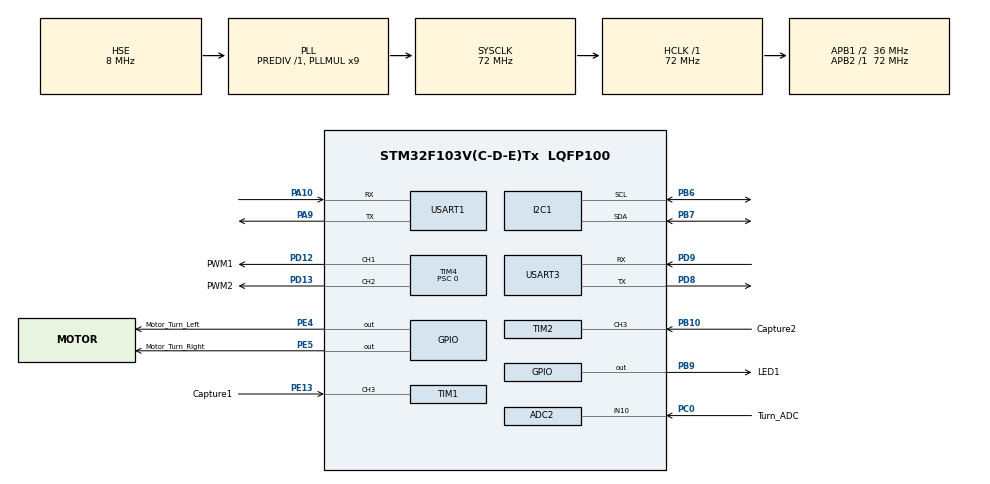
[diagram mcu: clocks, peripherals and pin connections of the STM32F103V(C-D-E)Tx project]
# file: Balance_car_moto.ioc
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ADC1.Channel-5\#ChannelRegularConversion=ADC_CHANNEL_TEMPSENSOR
ADC1.ContinuousConvMode=DISABLE
ADC1.DataAlign=ADC_DATAALIGN_RIGHT
ADC1.DiscontinuousConvMode=DISABLE
ADC1.EnableAnalogWatchDog=false
ADC1.EnableRegularConversion=ENABLE
ADC1.ExternalTrigConv=ADC_SOFTWARE_START
ADC1.InjNumberOfConversion=0
ADC1.NbrOfConversion=1
ADC1.NbrOfConversionFlag=1
ADC1.Rank-5\#ChannelRegularConversion=1
ADC1.SamplingTime-5\#ChannelRegularConversion=ADC_SAMPLETIME_1CYCLE_5
ADC1.ScanConvMode=ADC_SCAN_DISABLE
ADC1.master=1
ADC2.Channel-7\#ChannelRegularConversion=ADC_CHANNEL_10
ADC2.ContinuousConvMode=DISABLE
ADC2.DataAlign=ADC_DATAALIGN_RIGHT
ADC2.DiscontinuousConvMode=DISABLE
ADC2.EnableAnalogWatchDog=false
ADC2.EnableRegularConversion=ENABLE
ADC2.ExternalTrigConv=ADC_SOFTWARE_START
ADC2.InjNumberOfConversion=0
ADC2.NbrOfConversion=1
ADC2.NbrOfConversionFlag=1
ADC2.Rank-7\#ChannelRegularConversion=1
ADC2.SamplingTime-7\#ChannelRegularConversion=ADC_SAMPLETIME_1CYCLE_5
ADC2.ScanConvMode=ADC_SCAN_DISABLE
Dma.Request0=USART1_TX
Dma.USART1_TX.0.Direction=DMA_MEMORY_TO_PERIPH
Dma.USART1_TX.0.Instance=DMA1_Channel4
Dma.USART1_TX.0.MemDataAlignment=DMA_MDATAALIGN_BYTE
Dma.USART1_TX.0.MemInc=DMA_MINC_ENABLE
Dma.USART1_TX.0.Mode=DMA_NORMAL
Dma.USART1_TX.0.PeriphDataAlignment=DMA_PDATAALIGN_BYTE
Dma.USART1_TX.0.PeriphInc=DMA_PINC_DISABLE
Dma.USART1_TX.0.Priority=DMA_PRIORITY_LOW
Mcu.Family=STM32F1
Mcu.Name=STM32F103V(C-D-E)Tx
Mcu.Package=LQFP100
NVIC.DMA1_Channel4_IRQn=true\:0\:0\:false\:false\:true\:false
NVIC.PriorityGroup=NVIC_PRIORITYGROUP_2
NVIC.TIM1_CC_IRQn=true\:0\:0\:false\:false\:true\:true
NVIC.TIM2_IRQn=true\:0\:0\:false\:false\:true\:true
NVIC.TIM8_UP_IRQn=true\:0\:0\:false\:false\:true\:true
NVIC.USART1_IRQn=true\:0\:0\:false\:false\:true\:true
NVIC.USART3_IRQn=true\:0\:0\:false\:false\:true\:true
OSC_IN.Mode=HSE-External-Oscillator
OSC_IN.Signal=RCC_OSC_IN
OSC_OUT.Mode=HSE-External-Oscillator
OSC_OUT.Signal=RCC_OSC_OUT
PA10.Mode=Asynchronous
PA10.Signal=USART1_RX
PA13.Mode=JTAG_5_pins
PA13.Signal=SYS_JTMS-SWDIO
PA14.Mode=JTAG_5_pins
PA14.Signal=SYS_JTCK-SWCLK
PA15.Mode=JTAG_5_pins
PA15.Signal=SYS_JTDI
PA9.Mode=Asynchronous
PA9.Signal=USART1_TX
PB10.GPIO_Label=Capture2
PB10.Signal=S_TIM2_CH3
PB3.Mode=JTAG_5_pins
PB3.Signal=SYS_JTDO-TRACESWO
PB4.Mode=JTAG_5_pins
PB4.Signal=SYS_NJTRST
PB6.Mode=I2C
PB6.Signal=I2C1_SCL
PB7.Mode=I2C
PB7.Signal=I2C1_SDA
PB9.GPIO_Label=LED1
PB9.GPIO_Speed=GPIO_SPEED_FREQ_LOW
PB9.PinState=GPIO_PIN_SET
PB9.Signal=GPIO_Output
PC0.GPIO_Label=Turn_ADC
PC0.Signal=ADCx_IN10
PD12.GPIO_Label=PWM1
PD12.GPIO_Speed=GPIO_SPEED_FREQ_HIGH
PD12.Signal=S_TIM4_CH1
PD13.GPIO_Label=PWM2
PD13.GPIO_Speed=GPIO_SPEED_FREQ_HIGH
PD13.Signal=S_TIM4_CH2
PD8.Mode=Asynchronous
PD8.Signal=USART3_TX
PD9.Mode=Asynchronous
PD9.Signal=USART3_RX
PE13.GPIO_Label=Capture1
PE13.Signal=S_TIM1_CH3
PE4.GPIO_Label=Motor_Turn_Left
PE4.GPIO_Speed=GPIO_SPEED_FREQ_MEDIUM
PE4.PinState=GPIO_PIN_SET
PE4.Signal=GPIO_Output
PE5.GPIO_Label=Motor_Turn_Right
PE5.GPIO_ModeDefaultOutputPP=GPIO_MODE_OUTPUT_PP
PE5.GPIO_Speed=GPIO_SPEED_FREQ_MEDIUM
PE5.PinState=GPIO_PIN_SET
PE5.Signal=GPIO_Output
ProjectManager.HeapSize=0x200
ProjectManager.StackSize=0x400
ProjectManager.TargetToolchain=MDK-ARM V5
RCC.ADCPresc=RCC_ADCPCLK2_DIV6
RCC.AHBFreq_Value=72000000
RCC.APB1CLKDivider=RCC_HCLK_DIV2
RCC.APB1Freq_Value=36000000
RCC.APB1TimFreq_Value=72000000
RCC.APB2Freq_Value=72000000
RCC.APB2TimFreq_Value=72000000
RCC.HCLKFreq_Value=72000000
RCC.PLLMUL=RCC_PLL_MUL9
RCC.PLLSourceVirtual=RCC_PLLSOURCE_HSE
RCC.SYSCLKFreq_VALUE=72000000
RCC.SYSCLKSource=RCC_SYSCLKSOURCE_PLLCLK
RCC.USBFreq_Value=72000000
SH.ADCx_IN10.0=ADC2_IN10,IN10
SH.S_TIM1_CH3.0=TIM1_CH3,Input_Capture3_from_TI3
SH.S_TIM2_CH3.0=TIM2_CH3,Input_Capture3_from_TI3
SH.S_TIM4_CH1.0=TIM4_CH1,PWM Generation1 CH1
SH.S_TIM4_CH2.0=TIM4_CH2,PWM Generation2 CH2
TIM1.Channel-Input_Capture3_from_TI3=TIM_CHANNEL_3
TIM1.Period=0xffff
TIM1.Prescaler=7200-1
TIM2.Channel-Input_Capture3_from_TI3=TIM_CHANNEL_3
TIM2.Period=0xffff
TIM2.Prescaler=7200-1
TIM4.AutoReloadPreload=TIM_AUTORELOAD_PRELOAD_DISABLE
TIM4.Channel-PWM\ Generation1\ CH1=TIM_CHANNEL_1
TIM4.Channel-PWM\ Generation2\ CH2=TIM_CHANNEL_2
TIM4.Period=7200-1
TIM4.Prescaler=0
TIM8.Period=500-1
TIM8.Prescaler=7200-1
USART1.VirtualMode=VM_ASYNC
USART3.VirtualMode=VM_ASYNC
VP_ADC1_TempSens_Input.Mode=IN-TempSens
VP_TIM1_VS_ClockSourceINT.Mode=Internal
VP_TIM2_VS_ClockSourceINT.Mode=Internal
VP_TIM8_VS_ClockSourceINT.Mode=Internal
board=Balance_car_moto

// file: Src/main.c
/**
  ******************************************************************************
  * @file           : main.c
  * @brief          : Main program body
  ******************************************************************************
  ** This notice applies to any and all portions of this file
  * that are not between comment pairs USER CODE BEGIN and
  * USER CODE END. Other portions of this file, whether
  * inserted by the user or by software development tools
  * are owned by their respective copyright owners.
  *
  * COPYRIGHT(c) 2018 STMicroelectronics
  *
  * Redistribution and use in source and binary forms, with or without modification,
  * are permitted provided that the following conditions are met:
  *   1. Redistributions of source code must retain the above copyright notice,
  *      this list of conditions and the following disclaimer.
  *   2. Redistributions in binary form must reproduce the above copyright notice,
  *      this list of conditions and the following disclaimer in the documentation
  *      and/or other materials provided with the distribution.
  *   3. Neither the name of STMicroelectronics nor the names of its contributors
  *      may be used to endorse or promote products derived from this software
  *      without specific prior written permission.
  *
  * THIS SOFTWARE IS PROVIDED BY THE COPYRIGHT HOLDERS AND CONTRIBUTORS "AS IS"
  * AND ANY EXPRESS OR IMPLIED WARRANTIES, INCLUDING, BUT NOT LIMITED TO, THE
  * IMPLIED WARRANTIES OF MERCHANTABILITY AND FITNESS FOR A PARTICULAR PURPOSE ARE
  * DISCLAIMED. IN NO EVENT SHALL THE COPYRIGHT HOLDER OR CONTRIBUTORS BE LIABLE
  * FOR ANY DIRECT, INDIRECT, INCIDENTAL, SPECIAL, EXEMPLARY, OR CONSEQUENTIAL
  * DAMAGES (INCLUDING, BUT NOT LIMITED TO, PROCUREMENT OF SUBSTITUTE GOODS OR
  * SERVICES; LOSS OF USE, DATA, OR PROFITS; OR BUSINESS INTERRUPTION) HOWEVER
  * CAUSED AND ON ANY THEORY OF LIABILITY, WHETHER IN CONTRACT, STRICT LIABILITY,
  * OR TORT (INCLUDING NEGLIGENCE OR OTHERWISE) ARISING IN ANY WAY OUT OF THE USE
  * OF THIS SOFTWARE, EVEN IF ADVISED OF THE POSSIBILITY OF SUCH DAMAGE.
  *
  ******************************************************************************
  */
#include "main.h"
#include "stm32f1xx_hal.h"
#include "adc.h"
#include "dma.h"
#include "i2c.h"
#include "tim.h"
#include "usart.h"
#include "gpio.h"

/* USER CODE BEGIN Includes */
#include "motor.h"
#include "control.h"
#include "jy901.h"
/* USER CODE END Includes */

/* USER CODE BEGIN PV */
/* Private variables ---------------------------------------------------------*/

uint8_t str1[256];

/* USER CODE END PV */

void SystemClock_Config(void);

/* USER CODE BEGIN PFP */
/* Private function prototypes -----------------------------------------------*/

/* USER CODE END PFP */

int main(void)
{

  /* MCU Configuration----------------------------------------------------------*/

  /* Reset of all peripherals, Initializes the Flash interface and the Systick. */
  HAL_Init();

  /* Configure the system clock */
  SystemClock_Config();

  /* Initialize all configured peripherals */
  MX_GPIO_Init();
  MX_DMA_Init();
  MX_USART1_UART_Init();
  MX_TIM4_Init();
  MX_ADC1_Init();
  MX_ADC2_Init();
  MX_TIM8_Init();
  MX_TIM1_Init();
  MX_TIM2_Init();
  MX_I2C1_Init();
  MX_USART3_UART_Init();
  /* USER CODE BEGIN 2 */
	__HAL_AFIO_REMAP_SWJ_NOJTAG();
	HAL_TIM_IC_Start_IT(&htim1, TIM_CHANNEL_3);					//启动定时器1CH3输入捕获
	HAL_TIM_IC_Start_IT(&htim2, TIM_CHANNEL_3);					//启动定时器2CH3输入捕获
	HAL_TIM_PWM_Start(&htim4, TIM_CHANNEL_1);						//PWM1初始状态
	HAL_TIM_PWM_Start(&htim4, TIM_CHANNEL_2);						//PWM2初始状态
	HAL_UART_Receive_IT(&huart3,(uint8_t *)&Rx_Data3,1);//打开串口3接收中断（陀螺仪数据）
	HAL_UART_Receive_IT(&huart1,(uint8_t *)&Rx_Data1,1);//打开串口1接受中断（PID参数调节）
	Steer_Init();																				//记录启动时转向轴位置ADC为初始位置
	HAL_Delay(800);																			//等待500ms接受陀螺仪数据完整
	ZHONGZHI = Get_JY901_Init_UART();										//记录启动时陀螺仪位置为机械中值
	HAL_TIM_Base_Start_IT(&htim8);											//启动定时器8，50ms中断一次
  /* USER CODE END 2 */

  /* Infinite loop */
  while (1)
  {

  /* USER CODE BEGIN 3 */

		sprintf((char *)str1, "AngleBalance:%6.2f   GyroBalance:%7.2f   GyroTurn:%7.2f  |  JY901Temp:%d.%02d | M1:%5d  M2:%5d  |  PD_P:%.0f   PD_D:%.0f  |  PI_P:%.0f  PI_I:%.0f   ZZ:%.2f    Stop_Flag:%d   ↑↓%d %d   ←→%d %d\r\n",Angle_Balance-ZHONGZHI, Gyro_Balance, Gyro_Turn, JY901_Temperature/100, JY901_Temperature%100, Moto1,Moto2,Balance_PD_P, Balance_PD_D, Velocity_PI_P, Velocity_PI_I, ZHONGZHI, Stop_Flag,Qian_Flag,Hou_Flag,Left_Flag,Right_Flag);
//		sprintf((char *)str1, "angle_Balance:%.2f\n",Angle_Balance);
		HAL_UART_Transmit_DMA(&huart1, str1, strlen((const char *)str1));

		HAL_GPIO_WritePin(LED1_GPIO_Port, LED1_Pin, GPIO_PIN_RESET);
		HAL_Delay(300);

		HAL_UART_Transmit_DMA(&huart1, str1, strlen((const char *)str1));
		HAL_GPIO_WritePin(LED1_GPIO_Port, LED1_Pin, GPIO_PIN_SET);
		HAL_Delay(300);

  }
  /* USER CODE END 3 */

}

void SystemClock_Config(void)
{

  RCC_OscInitTypeDef RCC_OscInitStruct;
  RCC_ClkInitTypeDef RCC_ClkInitStruct;
  RCC_PeriphCLKInitTypeDef PeriphClkInit;

    /**Initializes the CPU, AHB and APB busses clocks
    */
  RCC_OscInitStruct.OscillatorType = RCC_OSCILLATORTYPE_HSE;
  RCC_OscInitStruct.HSEState = RCC_HSE_ON;
  RCC_OscInitStruct.HSEPredivValue = RCC_HSE_PREDIV_DIV1;
  RCC_OscInitStruct.HSIState = RCC_HSI_ON;
  RCC_OscInitStruct.PLL.PLLState = RCC_PLL_ON;
  RCC_OscInitStruct.PLL.PLLSource = RCC_PLLSOURCE_HSE;
  RCC_OscInitStruct.PLL.PLLMUL = RCC_PLL_MUL9;
  if (HAL_RCC_OscConfig(&RCC_OscInitStruct) != HAL_OK)
  {
    _Error_Handler(__FILE__, __LINE__);
  }

    /**Initializes the CPU, AHB and APB busses clocks
    */
  RCC_ClkInitStruct.ClockType = RCC_CLOCKTYPE_HCLK|RCC_CLOCKTYPE_SYSCLK
                              |RCC_CLOCKTYPE_PCLK1|RCC_CLOCKTYPE_PCLK2;
  RCC_ClkInitStruct.SYSCLKSource = RCC_SYSCLKSOURCE_PLLCLK;
  RCC_ClkInitStruct.AHBCLKDivider = RCC_SYSCLK_DIV1;
  RCC_ClkInitStruct.APB1CLKDivider = RCC_HCLK_DIV2;
  RCC_ClkInitStruct.APB2CLKDivider = RCC_HCLK_DIV1;

  if (HAL_RCC_ClockConfig(&RCC_ClkInitStruct, FLASH_LATENCY_2) != HAL_OK)
  {
    _Error_Handler(__FILE__, __LINE__);
  }

  PeriphClkInit.PeriphClockSelection = RCC_PERIPHCLK_ADC;
  PeriphClkInit.AdcClockSelection = RCC_ADCPCLK2_DIV6;
  if (HAL_RCCEx_PeriphCLKConfig(&PeriphClkInit) != HAL_OK)
  {
    _Error_Handler(__FILE__, __LINE__);
  }

    /**Configure the Systick interrupt time
    */
  HAL_SYSTICK_Config(HAL_RCC_GetHCLKFreq()/1000);

    /**Configure the Systick
    */
  HAL_SYSTICK_CLKSourceConfig(SYSTICK_CLKSOURCE_HCLK);

  /* SysTick_IRQn interrupt configuration */
  HAL_NVIC_SetPriority(SysTick_IRQn, 0, 0);
}

void _Error_Handler(char *file, int line)
{
  while(1)
  {
  }
}

/************************ (C) COPYRIGHT STMicroelectronics *****END OF FILE****/
